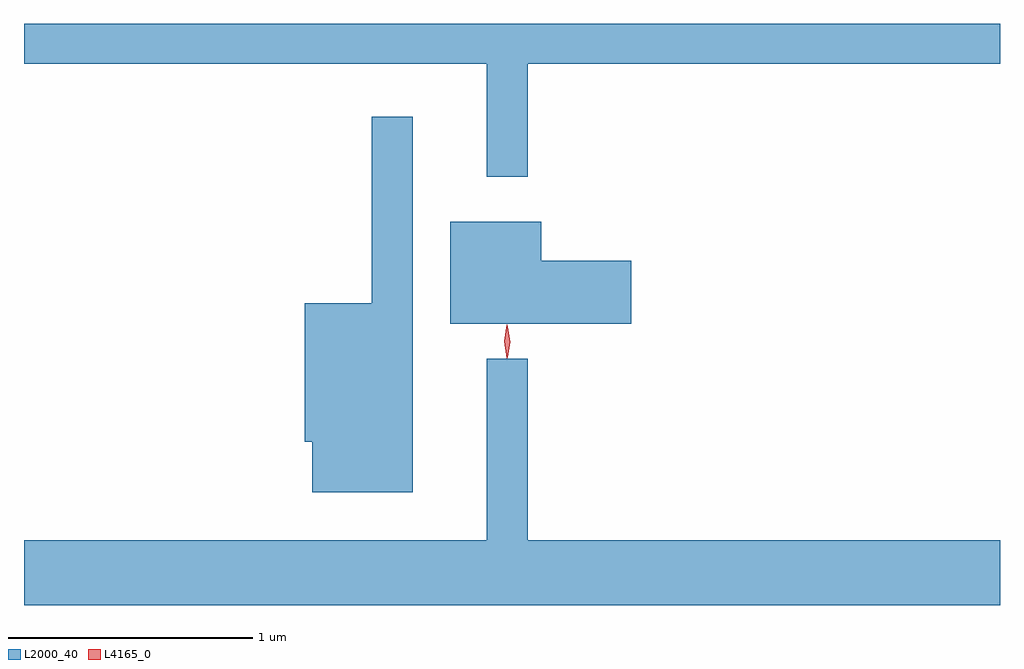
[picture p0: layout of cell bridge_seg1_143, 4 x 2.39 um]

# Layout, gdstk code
import gdstk
lib = gdstk.Library(unit=1e-6, precision=1e-09)
def P(c, l, *ps):  # polygons
    for p in ps: c.add(gdstk.Polygon(p, *l))
L2000_40 = (2000, 40)
L4165_0 = (4165, 0)

bridge_seg1_143 = lib.new_cell('bridge_seg1_143')
P(bridge_seg1_143, L2000_40, [(965.059,975.056),(966.995,975.056),(966.995,975.221),(962.995,975.221),(962.995,975.056),(964.891,975.056),(964.891,974.593),(965.059,974.593)],
  [(964.589,974.838),(964.421,974.838),(964.421,974.074),(964.146,974.074),(964.146,973.506),(964.176,973.506),(964.176,973.301),(964.589,973.301)],
  [(965.484,974.249),(965.114,974.249),(965.114,974.409),(964.741,974.409),(964.741,973.991),(965.484,973.991)],
  [(966.995,973.104),(965.059,973.104),(965.059,973.848),(964.891,973.848),(964.891,973.104),(962.995,973.104),(962.995,972.836),(966.995,972.836)])
P(bridge_seg1_143, L4165_0, [(964.974,973.85),(964.974,973.85),(964.964,973.918),(964.974,973.986),(964.974,973.986),(964.975,973.986),(964.984,973.918),(964.975,973.85)],
  [(964.977,973.853),(964.976,973.854),(964.967,973.916),(964.976,973.979),(964.977,973.98),(964.977,973.979),(964.987,973.916),(964.977,973.854)])

lib.write_gds('bridge_seg1_143.gds')
